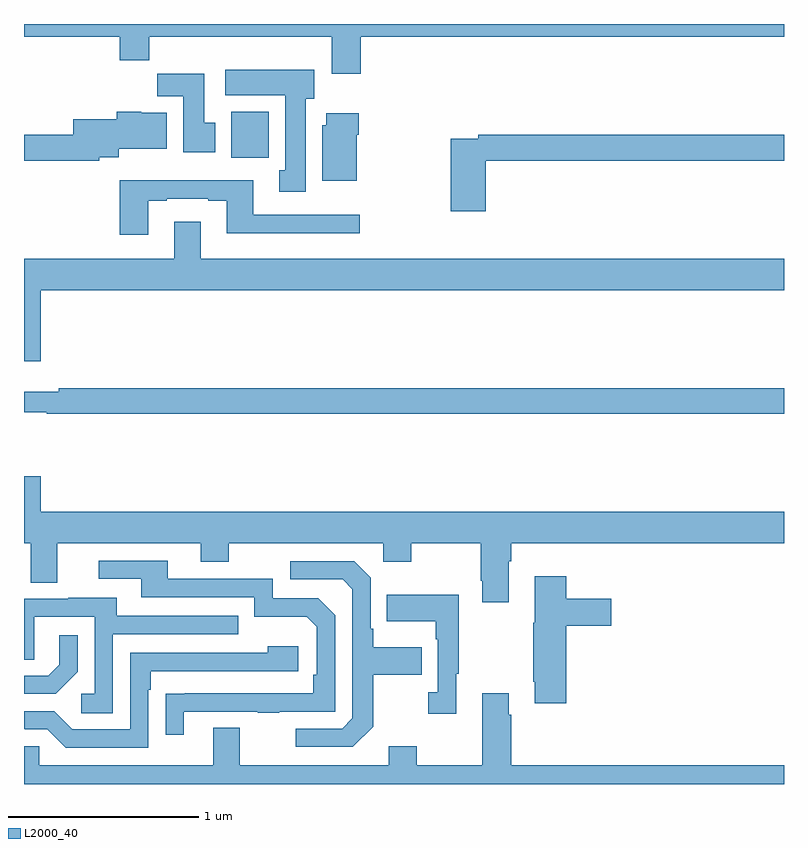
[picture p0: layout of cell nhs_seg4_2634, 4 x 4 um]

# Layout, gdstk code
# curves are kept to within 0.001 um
import gdstk
lib = gdstk.Library(unit=1e-6, precision=1e-09)
def R(c, l, rs):  # rectangles x0, y0, x1, y1
    for r in rs: c.add(gdstk.rectangle(r[:2], r[2:], *l))
def P(c, l, *ps):  # polygons
    for p in ps: c.add(gdstk.Polygon(p, *l))
L2000_40 = (2000, 40)

nhs_seg4_2634 = lib.new_cell('nhs_seg4_2634')
R(nhs_seg4_2634, L2000_40, [(250.091,784.196,250.288,784.438)])
P(nhs_seg4_2634, L2000_40, [(250.772,784.832),(253,784.832),(253,784.9),(249,784.9),(249,784.832),(249.503,784.832),(249.503,784.708),(249.659,784.708),(249.659,784.832),(250.619,784.832),(250.619,784.638),(250.772,784.638)],
  [(250.483,784.506),(250.528,784.506),(250.528,784.66),(250.059,784.66),(250.059,784.526),(250.376,784.526),(250.376,784.13),(250.343,784.13),(250.343,784.017),(250.483,784.017)],
  [(250.006,784.38),(249.949,784.38),(249.949,784.639),(249.7,784.639),(249.7,784.52),(249.839,784.52),(249.839,784.224),(250.006,784.224)],
  [(249.395,784.199),(249.499,784.199),(249.499,784.244),(249.751,784.244),(249.751,784.432),(249.618,784.432),(249.618,784.438),(249.488,784.438),(249.488,784.399),(249.26,784.399),(249.26,784.316),(249,784.316),(249,784.18),(249.395,784.18)],
  [(250.75,784.316),(250.763,784.316),(250.763,784.429),(250.592,784.429),(250.592,784.368),(250.571,784.368),(250.571,784.076),(250.75,784.076)],
  [(251.429,784.18),(253,784.18),(253,784.316),(251.392,784.316),(251.392,784.296),(251.246,784.296),(251.246,783.915),(251.429,783.915)],
  [(249.655,783.969),(249.751,783.969),(249.751,783.981),(249.971,783.981),(249.971,783.969),(250.067,783.969),(250.067,783.8),(250.768,783.8),(250.768,783.897),(250.207,783.897),(250.207,784.078),(249.503,784.078),(249.503,783.792),(249.655,783.792)],
  [(249.088,783.5),(253,783.5),(253,783.664),(249.931,783.664),(249.931,783.859),(249.791,783.859),(249.791,783.664),(249,783.664),(249,783.126),(249.088,783.126)],
  [(253,782.984),(249.184,782.984),(249.184,782.965),(249,782.965),(249,782.856),(249.121,782.856),(249.121,782.848),(253,782.848)],
  [(251.551,782.072),(251.564,782.072),(251.564,782.168),(253,782.168),(253,782.332),(249.088,782.332),(249.088,782.521),(249,782.521),(249,782.168),(249.035,782.168),(249.035,781.96),(249.175,781.96),(249.175,782.168),(249.929,782.168),(249.929,782.069),(250.077,782.069),(250.077,782.168),(250.89,782.168),(250.89,782.069),(251.037,782.069),(251.037,782.168),(251.404,782.168),(251.404,781.969),(251.411,781.969),(251.411,781.857),(251.551,781.857)],
  [(249.841,781.281),(250.231,781.281),(250.231,781.276),(250.343,781.276),(250.343,781.281),(250.638,781.281),(250.638,781.788),(250.548,781.878),(250.308,781.878),(250.308,781.98),(249.757,781.98),(249.757,782.076),(249.393,782.076),(249.393,781.98),(249.617,781.98),(249.617,781.884),(250.212,781.884),(250.212,781.781),(250.489,781.781),(250.542,781.728),(250.542,781.474),(250.522,781.474),(250.522,781.377),(249.745,781.376),(249.745,781.158),(249.841,781.158)],
  [(250.837,781.201),(250.837,781.474),(251.093,781.474),(251.093,781.621),(250.837,781.621),(250.837,781.717),(250.824,781.717),(250.824,781.986),(250.737,782.073),(250.401,782.073),(250.401,781.977),(250.677,781.977),(250.728,781.926),(250.728,781.245),(250.674,781.191),(250.431,781.191),(250.431,781.095),(250.731,781.095)],
  [(251.855,781.733),(252.091,781.733),(252.091,781.875),(251.855,781.875),(251.855,781.993),(251.687,781.993),(251.687,781.749),(251.68,781.749),(251.68,781.438),(251.687,781.438),(251.687,781.326),(251.855,781.326)],
  [(251.275,781.481),(251.287,781.481),(251.287,781.897),(250.909,781.897),(250.909,781.757),(251.166,781.757),(251.166,781.661),(251.178,781.661),(251.178,781.382),(251.127,781.382),(251.127,781.269),(251.275,781.269)],
  [(249.468,781.689),(250.127,781.689),(250.127,781.785),(249.487,781.785),(249.487,781.879),(249.233,781.879),(249.233,781.875),(249,781.875),(249,781.555),(249.054,781.555),(249.054,781.779),(249.372,781.779),(249.372,781.374),(249.3,781.374),(249.3,781.273),(249.468,781.273)],
  [(249.282,781.49),(249.282,781.684),(249.185,781.684),(249.185,781.527),(249.128,781.47),(249,781.47),(249,781.374),(249.166,781.374)],
  [(249.654,781.397),(249.667,781.397),(249.667,781.494),(250.444,781.494),(250.444,781.624),(250.283,781.624),(250.283,781.59),(249.558,781.59),(249.558,781.188),(249.255,781.188),(249.159,781.284),(249,781.284),(249,781.191),(249.005,781.191),(249.005,781.188),(249.123,781.188),(249.219,781.092),(249.654,781.092)],
  [(253,781),(251.564,781),(251.564,781.265),(251.551,781.265),(251.551,781.378),(251.411,781.378),(251.411,781),(251.067,781),(251.067,781.099),(250.919,781.099),(250.919,781),(250.135,781),(250.135,781.195),(249.995,781.195),(249.995,781),(249.081,781),(249.081,781.098),(249,781.098),(249,780.9),(253,780.9)])

lib.write_gds('nhs_seg4_2634.gds')
